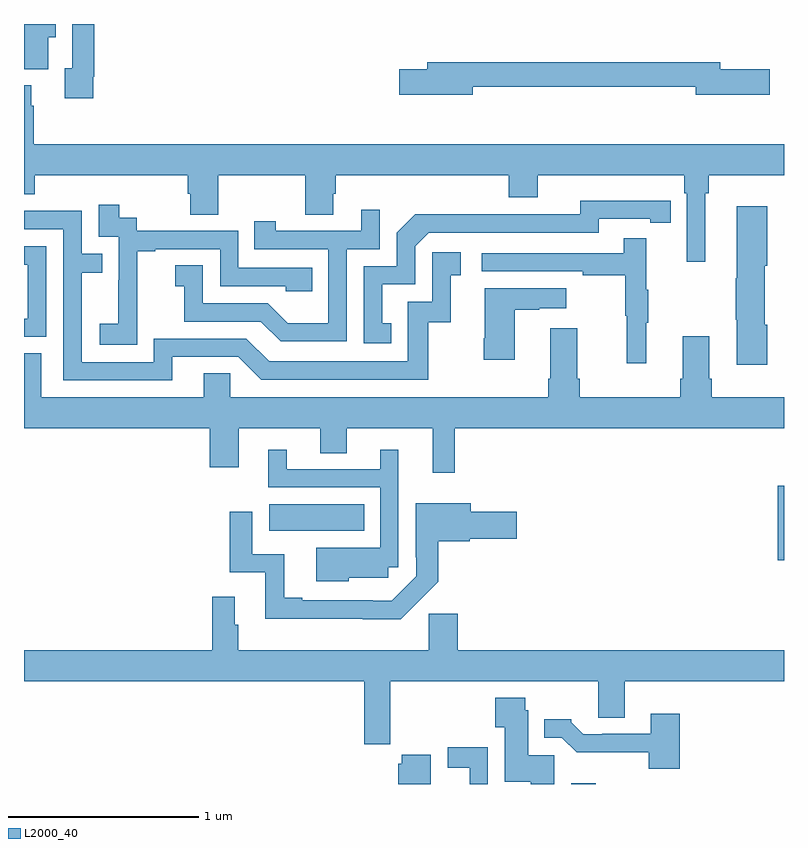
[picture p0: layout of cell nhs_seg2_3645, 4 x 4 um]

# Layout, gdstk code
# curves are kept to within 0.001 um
import gdstk
lib = gdstk.Library(unit=1e-6, precision=1e-09)
def R(c, l, rs):  # rectangles x0, y0, x1, y1
    for r in rs: c.add(gdstk.rectangle(r[:2], r[2:], *l))
def P(c, l, *ps):  # polygons
    for p in ps: c.add(gdstk.Polygon(p, *l))
L2000_40 = (2000, 40)

nhs_seg2_3645 = lib.new_cell('nhs_seg2_3645')
R(nhs_seg2_3645, L2000_40, [(305.879,609.8,306.01,609.805), (306.968,610.977,307,611.371), (304.29,611.132,304.79,611.272)])
P(nhs_seg2_3645, L2000_40, [(303.127,613.73),(303.166,613.73),(303.166,613.8),(303,613.8),(303,613.562),(303.127,613.562)],
  [(303.364,613.522),(303.371,613.522),(303.371,613.8),(303.255,613.8),(303.255,613.566),(303.215,613.566),(303.215,613.41),(303.364,613.41)],
  [(305.362,613.47),(306.536,613.47),(306.536,613.427),(306.925,613.427),(306.925,613.562),(306.664,613.562),(306.664,613.598),(305.123,613.598),(305.123,613.562),(304.974,613.562),(304.974,613.427),(305.362,613.427)],
  [(303.037,613.37),(303.037,613.477),(303,613.477),(303,612.905),(303.056,612.905),(303.056,613.004),(303.863,613.004),(303.863,612.906),(303.875,612.906),(303.875,612.796),(304.023,612.796),(304.023,613.004),(304.48,613.004),(304.48,612.796),(304.627,612.796),(304.627,612.906),(304.64,612.906),(304.64,613.004),(305.552,613.004),(305.552,612.887),(305.704,612.887),(305.704,613.004),(306.476,613.004),(306.476,612.908),(306.489,612.908),(306.489,612.549),(306.586,612.549),(306.586,612.908),(306.605,612.908),(306.605,613.004),(307,613.004),(307,613.168),(303.05,613.168),(303.05,613.37)],
  [(304.934,612.225),(304.885,612.225),(304.885,612.429),(305.058,612.429),(305.058,612.63),(305.13,612.702),(306.024,612.702),(306.024,612.774),(306.296,612.774),(306.296,612.754),(306.404,612.754),(306.404,612.87),(305.928,612.871),(305.928,612.798),(305.468,612.798),(305.468,612.8),(305.06,612.8),(304.962,612.702),(304.962,612.525),(304.788,612.525),(304.788,612.12),(304.934,612.12)],
  [(303.597,612.319),(303.596,612.319),(303.596,612.603),(303.691,612.603),(303.691,612.615),(304.032,612.615),(304.032,612.42),(304.377,612.42),(304.377,612.393),(304.517,612.393),(304.517,612.516),(304.128,612.516),(304.128,612.711),(303.594,612.711),(303.594,612.78),(303.502,612.78),(303.502,612.85),(303.393,612.85),(303.393,612.681),(303.498,612.681),(303.498,612.452),(303.497,612.452),(303.497,612.223),(303.399,612.223),(303.399,612.113),(303.597,612.113)],
  [(306.911,612.218),(306.898,612.218),(306.898,612.528),(306.911,612.528),(306.911,612.841),(306.752,612.841),(306.752,612.461),(306.745,612.461),(306.745,612.244),(306.752,612.244),(306.752,612.006),(306.911,612.006)],
  [(304.698,612.615),(304.872,612.615),(304.872,612.823),(304.775,612.823),(304.775,612.711),(304.324,612.711),(304.324,612.763),(304.213,612.763),(304.213,612.615),(304.602,612.615),(304.602,612.226),(304.388,612.226),(304.284,612.33),(303.942,612.33),(303.942,612.529),(303.795,612.529),(303.795,612.419),(303.844,612.419),(303.844,612.234),(304.247,612.234),(304.352,612.129),(304.698,612.129)],
  [(303.781,612.048),(304.128,612.048),(304.248,611.928),(305.128,611.928),(305.128,612.231),(305.246,612.231),(305.246,612.477),(305.299,612.477),(305.299,612.598),(305.148,612.598),(305.148,612.339),(305.019,612.339),(305.019,612.024),(304.29,612.024),(304.17,612.144),(303.684,612.144),(303.684,612.021),(303.303,612.021),(303.303,612.49),(303.413,612.49),(303.413,612.591),(303.303,612.591),(303.303,612.816),(303,612.816),(303,612.72),(303.207,612.72),(303.207,611.925),(303.781,611.925)],
  [(306.275,612.227),(306.286,612.227),(306.286,612.401),(306.275,612.401),(306.275,612.673),(306.157,612.673),(306.157,612.594),(305.409,612.594),(305.409,612.498),(305.941,612.498),(305.941,612.478),(306.165,612.478),(306.165,612.264),(306.172,612.264),(306.172,612.015),(306.275,612.015)],
  [(303.117,612.63),(303,612.63),(303,612.534),(303.021,612.534),(303.021,612.249),(303,612.249),(303,612.153),(303.117,612.153)],
  [(305.584,612.295),(305.711,612.295),(305.711,612.305),(305.854,612.305),(305.854,612.409),(305.426,612.409),(305.426,612.145),(305.419,612.145),(305.419,612.033),(305.584,612.033)],
  [(305.267,611.672),(307,611.672),(307,611.836),(306.62,611.836),(306.62,611.932),(306.607,611.932),(306.607,612.157),(306.467,612.157),(306.467,611.932),(306.455,611.932),(306.455,611.836),(305.924,611.836),(305.924,611.932),(305.911,611.932),(305.911,612.199),(305.771,612.199),(305.771,611.932),(305.759,611.932),(305.759,611.836),(304.086,611.836),(304.086,611.963),(303.947,611.963),(303.947,611.836),(303.091,611.836),(303.091,612.068),(303,612.068),(303,611.672),(303.977,611.672),(303.977,611.466),(304.129,611.466),(304.129,611.672),(304.559,611.672),(304.559,611.542),(304.699,611.542),(304.699,611.672),(305.15,611.672),(305.15,611.439),(305.267,611.439)],
  [(304.71,610.886),(304.917,610.886),(304.917,610.941),(304.971,610.941),(304.971,611.56),(304.874,611.56),(304.874,611.457),(304.384,611.457),(304.384,611.56),(304.286,611.56),(304.286,611.361),(304.875,611.361),(304.875,611.044),(304.538,611.044),(304.538,610.868),(304.71,610.868)],
  [(305.18,610.865),(305.18,611.077),(305.346,611.077),(305.346,611.09),(305.593,611.09),(305.593,611.232),(305.35,611.232),(305.35,611.278),(305.061,611.278),(305.061,610.993),(305.064,610.993),(305.064,610.893),(304.936,610.765),(304.835,610.765),(304.835,610.767),(304.465,610.767),(304.465,610.78),(304.369,610.78),(304.369,611.01),(304.2,611.01),(304.2,611.233),(304.084,611.233),(304.084,610.914),(304.271,610.914),(304.271,610.67),(304.783,610.67),(304.783,610.668),(304.982,610.668)],
  [(304.928,610.34),(306.023,610.34),(306.023,610.15),(306.163,610.15),(306.163,610.34),(307,610.34),(307,610.504),(305.282,610.504),(305.282,610.695),(305.131,610.695),(305.131,610.504),(304.127,610.504),(304.127,610.637),(304.108,610.637),(304.108,610.786),(303.991,610.786),(303.991,610.504),(303,610.504),(303,610.34),(304.792,610.34),(304.792,610.008),(304.928,610.008)],
  [(305.791,609.951),(305.653,609.951),(305.653,610.188),(305.637,610.188),(305.637,610.255),(305.48,610.255),(305.48,610.099),(305.531,610.099),(305.531,609.812),(305.666,609.812),(305.666,609.8),(305.791,609.8)],
  [(306.452,610.171),(306.299,610.171),(306.299,610.065),(306.043,610.065),(306.043,610.062),(305.944,610.062),(305.88,610.126),(305.88,610.141),(305.738,610.141),(305.738,610.044),(305.829,610.044),(305.908,609.966),(306.287,609.966),(306.287,609.881),(306.452,609.881)],
  [(305.442,609.994),(305.229,609.994),(305.229,609.885),(305.346,609.885),(305.346,609.8),(305.442,609.8)],
  [(305.14,609.953),(304.988,609.953),(304.988,609.906),(304.97,609.906),(304.97,609.8),(305.14,609.8)])

lib.write_gds('nhs_seg2_3645.gds')
